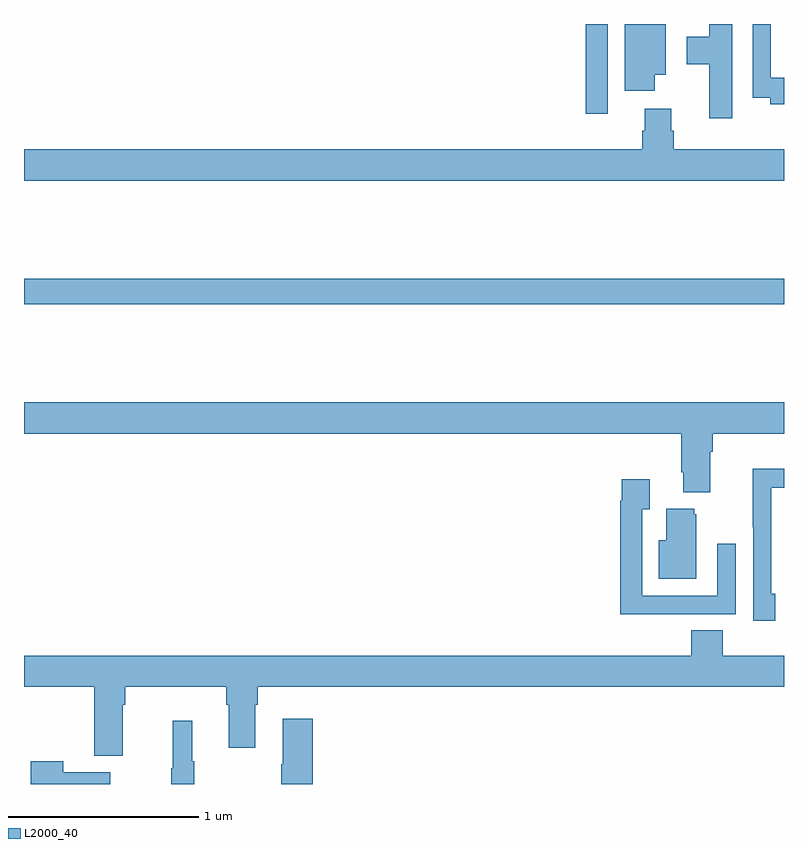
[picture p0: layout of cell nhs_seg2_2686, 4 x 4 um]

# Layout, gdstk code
import gdstk
lib = gdstk.Library(unit=1e-6, precision=1e-09)
def R(c, l, rs):  # rectangles x0, y0, x1, y1
    for r in rs: c.add(gdstk.rectangle(r[:2], r[2:], *l))
def P(c, l, *ps):  # polygons
    for p in ps: c.add(gdstk.Polygon(p, *l))
L2000_40 = (2000, 40)

nhs_seg2_2686 = lib.new_cell('nhs_seg2_2686')
R(nhs_seg2_2686, L2000_40, [(251,640.324,255,640.46), (253.957,641.328,254.073,641.8)])
P(nhs_seg2_2686, L2000_40, [(255,641.518),(254.931,641.518),(254.931,641.8),(254.835,641.8),(254.835,641.412),(254.927,641.412),(254.927,641.378),(255,641.378)],
  [(254.32,641.534),(254.377,641.534),(254.377,641.8),(254.162,641.8),(254.162,641.448),(254.32,641.448)],
  [(254.728,641.8),(254.606,641.8),(254.606,641.734),(254.489,641.734),(254.489,641.587),(254.606,641.587),(254.606,641.304),(254.728,641.304)],
  [(255,641.14),(254.42,641.14),(254.42,641.238),(254.407,641.238),(254.407,641.353),(254.267,641.353),(254.267,641.238),(254.255,641.238),(254.255,641.14),(251,641.14),(251,640.976),(255,640.976)],
  [(254.611,639.548),(254.624,639.548),(254.624,639.644),(255,639.644),(255,639.808),(251,639.808),(251,639.644),(254.459,639.644),(254.459,639.442),(254.471,639.442),(254.471,639.335),(254.611,639.335)],
  [(254.953,638.802),(254.934,638.802),(254.934,639.36),(255,639.36),(255,639.458),(254.836,639.458),(254.836,639.151),(254.838,639.151),(254.838,638.658),(254.953,638.658)],
  [(254.429,638.694),(254.745,638.694),(254.745,639.064),(254.649,639.064),(254.649,638.79),(254.253,638.79),(254.253,639.247),(254.293,639.247),(254.293,639.403),(254.145,639.403),(254.145,639.29),(254.137,639.29),(254.137,638.693),(254.429,638.693)],
  [(254.539,639.219),(254.528,639.219),(254.528,639.25),(254.381,639.25),(254.381,639.082),(254.342,639.082),(254.342,638.879),(254.539,638.879)],
  [(251.521,638.216),(251.534,638.216),(251.534,638.312),(252.065,638.312),(252.065,638.216),(252.077,638.216),(252.077,637.992),(252.217,637.992),(252.217,638.216),(252.23,638.216),(252.23,638.312),(255,638.312),(255,638.476),(254.678,638.476),(254.678,638.609),(254.513,638.609),(254.513,638.476),(251,638.476),(251,638.312),(251.369,638.312),(251.369,637.95),(251.521,637.95)],
  [(252.521,638.143),(252.362,638.143),(252.362,637.904),(252.355,637.904),(252.355,637.8),(252.521,637.8)],
  [(251.896,637.921),(251.885,637.921),(251.885,638.134),(251.782,638.134),(251.782,637.884),(251.775,637.884),(251.775,637.8),(251.896,637.8)],
  [(251.455,637.861),(251.207,637.861),(251.207,637.921),(251.036,637.921),(251.036,637.8),(251.455,637.8)])

lib.write_gds('nhs_seg2_2686.gds')
